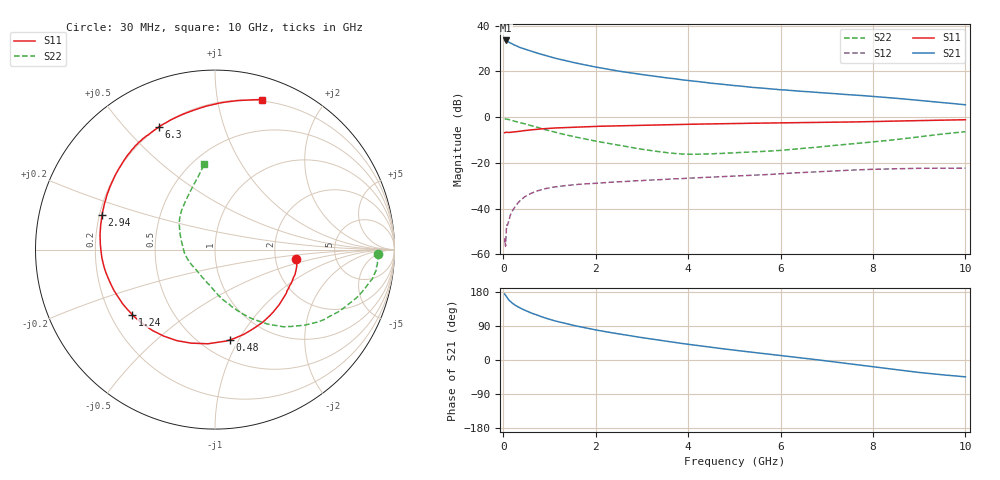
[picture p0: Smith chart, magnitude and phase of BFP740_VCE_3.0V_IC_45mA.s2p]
! Infineon Technologies  Discrete & RF Semiconductors
! BFP740
! VCE =  3.0 V,  IC =  45 mA
! Common Emitter S-Parameters:  Jan 2016
# GHz  S  MA  R  50
!  f  S11  S21  S12  S22
! GHz  MAG  ANG  MAG  ANG  MAG  ANG  MAG  ANG
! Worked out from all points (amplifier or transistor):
!   229 points, 30 MHz to 10 GHz, reference 50 ohm
!   highest |S21| = 33.6 dB at 50 MHz (marker M1)
!   |S21| within 3 dB of that: start of sweep to 352.4 MHz
!   unconditionally stable (mu >= 1): 49.57 MHz to 50.25 MHz; 4.644 GHz to 9.883 GHz
!   at 280 MHz: K = 0.41, MSG = 34.9 dB, |S12| = -38.6 dB
!   at 1.78 GHz: K = 0.61, MSG = 26.0 dB, |S12| = -29.2 dB
!   at 10 GHz: K = 0.99, MSG = 13.9 dB, |S12| = -22.3 dB
!   S11 on the Smith chart (normalised r, x): 30 MHz: 2.63, -0.34; 480 MHz: 0.67, -0.92; 1.24 GHz: 0.29, -0.32; 2.94 GHz: 0.21, +0.14; 6.3 GHz: 0.20, +0.63; 10 GHz: 0.19, +1.34
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0.03  0.4566 -6.5  47.21 174.3  0.0018 84.6  0.9062 -1.5
0.05  0.4642 -10.7  47.61 170.7  0.0015 84.0  0.9072 -4.2
0.08  0.4669 -17.3  46.52 164.8  0.0044 89.5  0.9042 -7.6
0.11  0.4644 -23.7  44.6 160.0  0.0049 85.5  0.8902 -10.7
0.15  0.4658 -31.4  42.26 154.9  0.007 77.1  0.8652 -14.1
0.2  0.4714 -40.6  39.69 149.5  0.0089 75.2  0.8409 -17.9
0.26  0.4784 -50.4  37.15 144.6  0.011 71.9  0.8083 -21.7
0.34  0.4882 -62.8  34.09 138.9  0.014 66.8  0.7701 -26.7
0.48  0.5098 -80.8  30.43 130.7  0.0184 59.4  0.7075 -34.3
0.6  0.5262 -94.4  27.77 124.4  0.0214 55.0  0.6535 -40.1
0.8  0.55 -112.7  24.14 115.3  0.0254 48.3  0.5749 -48.4
1.06  0.5734 -131.6  20.28 105.3  0.029 41.5  0.484 -56.9
1.24  0.5856 -141.8  18.22 99.4  0.0308 38.4  0.4357 -61.9
1.7  0.6117 -161.8  14.38 86.7  0.0343 32.8  0.3424 -71.9
2.24  0.6354 -179.5  11.31 74.2  0.0371 29.0  0.2707 -83.1
2.94  0.6586 162.9  8.733 60.3  0.0407 26.2  0.2029 -97.9
3.4  0.6752 152.9  7.531 51.8  0.0429 24.5  0.1738 -111.5
5.1  0.7301 126.4  4.815 24.6  0.0518 19.2  0.1683 -170.1
6.3  0.752 114.5  3.783 7.8  0.0601 15.2  0.1984 162.7
6.8  0.7634 108.9  3.464 0.5  0.0639 12.1  0.2204 152.7
8.4  0.8158 88.5  2.638 -23.9  0.0739 -0.2  0.3146 121.7
10  0.876 72.6  1.866 -44.5  0.0764 -11.4  0.4808 97.2
